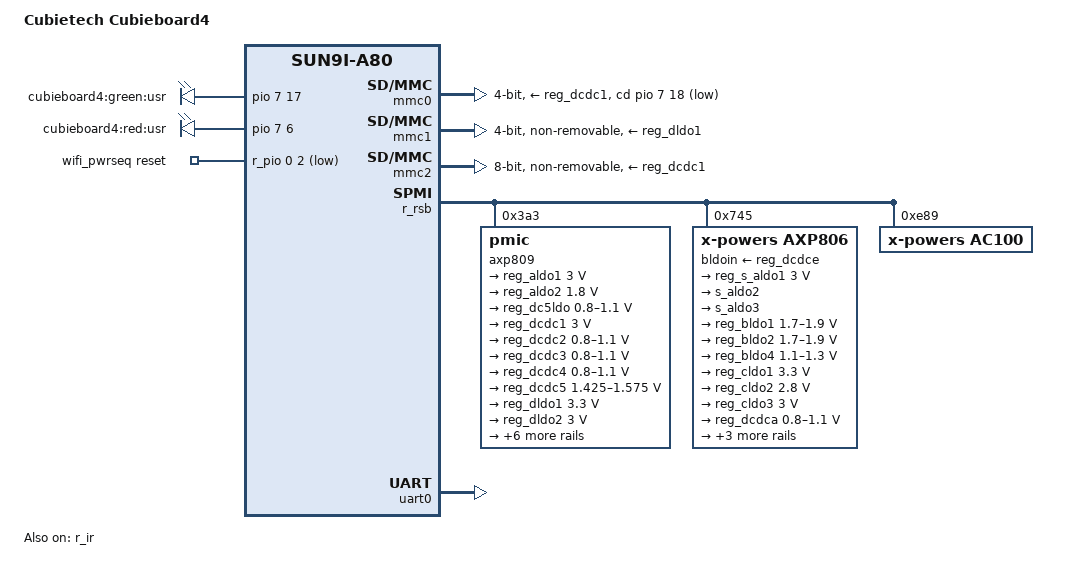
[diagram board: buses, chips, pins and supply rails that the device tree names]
/*
 * Copyright 2015 Tyler Baker
 *
 * Tyler Baker <tyler.baker@linaro.org>
 * Chen-Yu Tsai <wens@csie.org>
 *
 * This file is dual-licensed: you can use it either under the terms
 * of the GPL or the X11 license, at your option. Note that this dual
 * licensing only applies to this file, and not this project as a
 * whole.
 *
 *  a) This file is free software; you can redistribute it and/or
 *     modify it under the terms of the GNU General Public License as
 *     published by the Free Software Foundation; either version 2 of the
 *     License, or (at your option) any later version.
 *
 *     This file is distributed in the hope that it will be useful,
 *     but WITHOUT ANY WARRANTY; without even the implied warranty of
 *     MERCHANTABILITY or FITNESS FOR A PARTICULAR PURPOSE.  See the
 *     GNU General Public License for more details.
 *
 * Or, alternatively,
 *
 *  b) Permission is hereby granted, free of charge, to any person
 *     obtaining a copy of this software and associated documentation
 *     files (the "Software"), to deal in the Software without
 *     restriction, including without limitation the rights to use,
 *     copy, modify, merge, publish, distribute, sublicense, and/or
 *     sell copies of the Software, and to permit persons to whom the
 *     Software is furnished to do so, subject to the following
 *     conditions:
 *
 *     The above copyright notice and this permission notice shall be
 *     included in all copies or substantial portions of the Software.
 *
 *     THE SOFTWARE IS PROVIDED "AS IS", WITHOUT WARRANTY OF ANY KIND,
 *     EXPRESS OR IMPLIED, INCLUDING BUT NOT LIMITED TO THE WARRANTIES
 *     OF MERCHANTABILITY, FITNESS FOR A PARTICULAR PURPOSE AND
 *     NONINFRINGEMENT. IN NO EVENT SHALL THE AUTHORS OR COPYRIGHT
 *     HOLDERS BE LIABLE FOR ANY CLAIM, DAMAGES OR OTHER LIABILITY,
 *     WHETHER IN AN ACTION OF CONTRACT, TORT OR OTHERWISE, ARISING
 *     FROM, OUT OF OR IN CONNECTION WITH THE SOFTWARE OR THE USE OR
 *     OTHER DEALINGS IN THE SOFTWARE.
 */

/dts-v1/;
#include "sun9i-a80.dtsi"

#include <dt-bindings/gpio/gpio.h>

/ {
	model = "Cubietech Cubieboard4";
	compatible = "cubietech,a80-cubieboard4", "allwinner,sun9i-a80";

	aliases {
		serial0 = &uart0;
	};

	chosen {
		stdout-path = "serial0:115200n8";
	};

	leds {
		compatible = "gpio-leds";

		green {
			label = "cubieboard4:green:usr";
			gpios = <&pio 7 17 GPIO_ACTIVE_HIGH>; /* PH17 */
		};

		red {
			label = "cubieboard4:red:usr";
			gpios = <&pio 7 6 GPIO_ACTIVE_HIGH>; /* PH6 */
		};
	};

	wifi_pwrseq: wifi-pwrseq {
		compatible = "mmc-pwrseq-simple";
		clocks = <&ac100_rtc 1>;
		clock-names = "ext_clock";
		/* enables internal regulator and de-asserts reset */
		reset-gpios = <&r_pio 0 2 GPIO_ACTIVE_LOW>; /* PL2 WL-PMU-EN */
	};
};

&mmc0 {
	pinctrl-names = "default";
	pinctrl-0 = <&mmc0_pins>;
	vmmc-supply = <&reg_dcdc1>;
	bus-width = <4>;
	cd-gpios = <&pio 7 18 GPIO_ACTIVE_LOW>; /* PH18 */
	status = "okay";
};

&mmc1 {
	pinctrl-names = "default";
	pinctrl-0 = <&mmc1_pins>;
	vmmc-supply = <&reg_dldo1>;
	vqmmc-supply = <&reg_cldo3>;
	mmc-pwrseq = <&wifi_pwrseq>;
	bus-width = <4>;
	non-removable;
	status = "okay";
};

&mmc1_pins {
	bias-pull-up;
};

&mmc2 {
	pinctrl-names = "default";
	pinctrl-0 = <&mmc2_8bit_pins>;
	vmmc-supply = <&reg_dcdc1>;
	bus-width = <8>;
	non-removable;
	cap-mmc-hw-reset;
	status = "okay";
};

&mmc2_8bit_pins {
	/* Increase drive strength for DDR modes */
	drive-strength = <40>;
};

&osc32k {
	/* osc32k input is from AC100 */
	clocks = <&ac100_rtc 0>;
};

&r_ir {
	status = "okay";
};

&r_rsb {
	status = "okay";

	axp809: pmic@3a3 {
		reg = <0x3a3>;
		interrupt-parent = <&nmi_intc>;
		interrupts = <0 IRQ_TYPE_LEVEL_LOW>;

		regulators {
			reg_aldo1: aldo1 {
				/*
				 * TODO: This should be handled by the
				 * USB PHY driver.
				 */
				regulator-always-on;
				regulator-min-microvolt = <3000000>;
				regulator-max-microvolt = <3000000>;
				regulator-name = "vcc33-usbh";
			};

			reg_aldo2: aldo2 {
				regulator-min-microvolt = <1800000>;
				regulator-max-microvolt = <1800000>;
				regulator-name = "vcc-pb-io-cam";
			};

			aldo3 {
				/* unused */
			};

			reg_dc5ldo: dc5ldo {
				regulator-always-on;
				regulator-min-microvolt = <800000>;
				regulator-max-microvolt = <1100000>;
				regulator-name = "vdd-cpus-09-usbh";
			};

			reg_dcdc1: dcdc1 {
				regulator-always-on;
				regulator-min-microvolt = <3000000>;
				regulator-max-microvolt = <3000000>;
				regulator-name = "vcc-3v";
			};

			reg_dcdc2: dcdc2 {
				regulator-min-microvolt = <800000>;
				regulator-max-microvolt = <1100000>;
				regulator-name = "vdd-gpu";
			};

			reg_dcdc3: dcdc3 {
				regulator-always-on;
				regulator-min-microvolt = <800000>;
				regulator-max-microvolt = <1100000>;
				regulator-name = "vdd-cpua";
			};

			reg_dcdc4: dcdc4 {
				regulator-always-on;
				regulator-min-microvolt = <800000>;
				regulator-max-microvolt = <1100000>;
				regulator-name = "vdd-sys-usb0-hdmi";
			};

			reg_dcdc5: dcdc5 {
				regulator-always-on;
				regulator-min-microvolt = <1425000>;
				regulator-max-microvolt = <1575000>;
				regulator-name = "vcc-dram";
			};

			reg_dldo1: dldo1 {
				/*
				 * The WiFi chip supports a wide range
				 * (3.0 ~ 4.8V) of voltages, and so does
				 * this regulator (3.0 ~ 4.2V), but
				 * Allwinner SDK always sets it to 3.3V.
				 */
				regulator-min-microvolt = <3300000>;
				regulator-max-microvolt = <3300000>;
				regulator-name = "vcc-wifi";
			};

			reg_dldo2: dldo2 {
				regulator-always-on;
				regulator-min-microvolt = <3000000>;
				regulator-max-microvolt = <3000000>;
				regulator-name = "vcc-pl";
			};

			reg_eldo1: eldo1 {
				regulator-min-microvolt = <1200000>;
				regulator-max-microvolt = <1200000>;
				regulator-name = "vcc-dvdd-cam";
			};

			reg_eldo2: eldo2 {
				regulator-min-microvolt = <1800000>;
				regulator-max-microvolt = <1800000>;
				regulator-name = "vcc-pe";
			};

			reg_eldo3: eldo3 {
				regulator-always-on;
				regulator-min-microvolt = <3000000>;
				regulator-max-microvolt = <3000000>;
				regulator-name = "vcc-pm-codec-io1";
			};

			reg_ldo_io0: ldo_io0 {
				regulator-always-on;
				regulator-min-microvolt = <3000000>;
				regulator-max-microvolt = <3000000>;
				regulator-name = "vcc-pg";
			};

			reg_ldo_io1: ldo_io1 {
				regulator-min-microvolt = <2500000>;
				regulator-max-microvolt = <2500000>;
				regulator-name = "vcc-pa-gmac-2v5";
			};

			reg_rtc_ldo: rtc_ldo {
				regulator-name = "vcc-rtc-vdd1v8-io";
			};

			sw {
				/* unused */
			};
		};
	};

	axp806: pmic@745 {
		compatible = "x-powers,axp806";
		reg = <0x745>;
		interrupt-parent = <&nmi_intc>;
		interrupts = <0 IRQ_TYPE_LEVEL_LOW>;
		interrupt-controller;
		#interrupt-cells = <1>;
		bldoin-supply = <&reg_dcdce>;

		regulators {
			reg_s_aldo1: aldo1 {
				regulator-always-on;
				regulator-min-microvolt = <3000000>;
				regulator-max-microvolt = <3000000>;
				regulator-name = "avcc";
			};

			aldo2 {
				/*
				 * unused, but use a different name to
				 * avoid name clash with axp809's aldo's
				 */
				regulator-name = "s_aldo2";
			};

			aldo3 {
				/*
				 * unused, but use a different name to
				 * avoid name clash with axp809's aldo's
				 */
				regulator-name = "s_aldo3";
			};

			reg_bldo1: bldo1 {
				regulator-always-on;
				regulator-min-microvolt = <1700000>;
				regulator-max-microvolt = <1900000>;
				regulator-name = "vcc18-efuse-adc-display-csi";
			};

			reg_bldo2: bldo2 {
				regulator-always-on;
				regulator-min-microvolt = <1700000>;
				regulator-max-microvolt = <1900000>;
				regulator-name =
					"vdd18-drampll-vcc18-pll-cpvdd";
			};

			bldo3 {
				/* unused */
			};

			reg_bldo4: bldo4 {
				regulator-min-microvolt = <1100000>;
				regulator-max-microvolt = <1300000>;
				regulator-name = "vcc12-hsic";
			};

			reg_cldo1: cldo1 {
				/*
				 * This was 3V in the original design, but
				 * 3.3V is the recommended supply voltage
				 * for the Ethernet PHY.
				 */
				regulator-min-microvolt = <3300000>;
				regulator-max-microvolt = <3300000>;
				regulator-name = "vcc-gmac-phy";
			};

			reg_cldo2: cldo2 {
				regulator-min-microvolt = <2800000>;
				regulator-max-microvolt = <2800000>;
				regulator-name = "afvcc-cam";
			};

			reg_cldo3: cldo3 {
				regulator-min-microvolt = <3000000>;
				regulator-max-microvolt = <3000000>;
				regulator-name = "vcc-io-wifi-codec-io2";
			};

			reg_dcdca: dcdca {
				regulator-always-on;
				regulator-min-microvolt = <800000>;
				regulator-max-microvolt = <1100000>;
				regulator-name = "vdd-cpub";
			};

			reg_dcdcd: dcdcd {
				regulator-always-on;
				regulator-min-microvolt = <800000>;
				regulator-max-microvolt = <1100000>;
				regulator-name = "vdd-vpu";
			};

			reg_dcdce: dcdce {
				regulator-always-on;
				regulator-min-microvolt = <2100000>;
				regulator-max-microvolt = <2100000>;
				regulator-name = "vcc-bldo-codec-ldoin";
			};

			sw {
				/*
				 * unused, but use a different name to
				 * avoid name clash with axp809's sw
				 */
				regulator-name = "s_sw";
			};
		};
	};

	ac100: codec@e89 {
		compatible = "x-powers,ac100";
		reg = <0xe89>;

		ac100_codec: codec {
			compatible = "x-powers,ac100-codec";
			interrupt-parent = <&r_pio>;
			interrupts = <0 9 IRQ_TYPE_LEVEL_LOW>; /* PL9 */
			#clock-cells = <0>;
			clock-output-names = "4M_adda";
		};

		ac100_rtc: rtc {
			compatible = "x-powers,ac100-rtc";
			interrupt-parent = <&nmi_intc>;
			interrupts = <0 IRQ_TYPE_LEVEL_LOW>;
			clocks = <&ac100_codec>;
			#clock-cells = <1>;
			clock-output-names = "cko1_rtc",
					     "cko2_rtc",
					     "cko3_rtc";
		};
	};
};

#include "axp809.dtsi"

&uart0 {
	pinctrl-names = "default";
	pinctrl-0 = <&uart0_ph_pins>;
	status = "okay";
};
